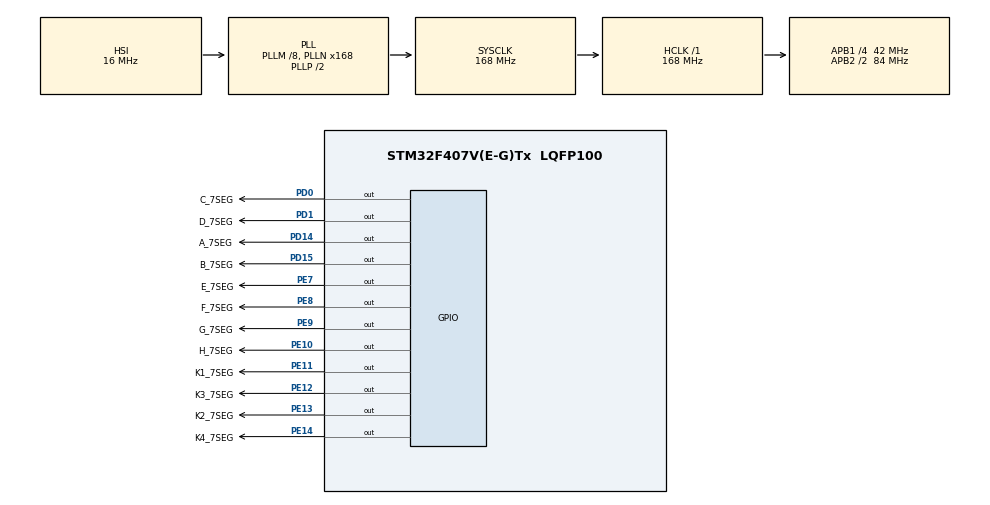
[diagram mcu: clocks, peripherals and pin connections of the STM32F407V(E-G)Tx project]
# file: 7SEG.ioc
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Mcu.Family=STM32F4
Mcu.Name=STM32F407V(E-G)Tx
Mcu.Package=LQFP100
NVIC.PriorityGroup=NVIC_PRIORITYGROUP_4
PA13.Mode=Serial_Wire
PA13.Signal=SYS_JTMS-SWDIO
PA14.Mode=Serial_Wire
PA14.Signal=SYS_JTCK-SWCLK
PD0.GPIO_Label=C_7SEG
PD0.Signal=GPIO_Output
PD1.GPIO_Label=D_7SEG
PD1.Signal=GPIO_Output
PD14.GPIO_Label=A_7SEG
PD14.Signal=GPIO_Output
PD15.GPIO_Label=B_7SEG
PD15.Signal=GPIO_Output
PE10.GPIO_Label=H_7SEG
PE10.Signal=GPIO_Output
PE11.GPIO_Label=K1_7SEG
PE11.Signal=GPIO_Output
PE12.GPIO_Label=K3_7SEG
PE12.Signal=GPIO_Output
PE13.GPIO_Label=K2_7SEG
PE13.Signal=GPIO_Output
PE14.GPIO_Label=K4_7SEG
PE14.Signal=GPIO_Output
PE7.GPIO_Label=E_7SEG
PE7.Signal=GPIO_Output
PE8.GPIO_Label=F_7SEG
PE8.Signal=GPIO_Output
PE9.GPIO_Label=G_7SEG
PE9.Signal=GPIO_Output
PH0-OSC_IN.Mode=HSE-External-Oscillator
PH0-OSC_IN.Signal=RCC_OSC_IN
PH1-OSC_OUT.Mode=HSE-External-Oscillator
PH1-OSC_OUT.Signal=RCC_OSC_OUT
ProjectManager.HeapSize=0x200
ProjectManager.StackSize=0x400
ProjectManager.TargetToolchain=MDK-ARM V5
RCC.48MHZClocksFreq_Value=84000000
RCC.AHBFreq_Value=168000000
RCC.APB1CLKDivider=RCC_HCLK_DIV4
RCC.APB1Freq_Value=42000000
RCC.APB1TimFreq_Value=84000000
RCC.APB2CLKDivider=RCC_HCLK_DIV2
RCC.APB2Freq_Value=84000000
RCC.APB2TimFreq_Value=168000000
RCC.CortexFreq_Value=168000000
RCC.HCLKFreq_Value=168000000
RCC.HSE_VALUE=8000000
RCC.HSI_VALUE=16000000
RCC.LSE_VALUE=32768
RCC.PLLM=8
RCC.PLLN=168
RCC.SYSCLKFreq_VALUE=168000000
RCC.SYSCLKSource=RCC_SYSCLKSOURCE_PLLCLK
RCC.VCOOutputFreq_Value=336000000
board=custom

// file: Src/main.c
/* USER CODE BEGIN Header */
/**
  ******************************************************************************
  * @file           : main.c
  * @brief          : Main program body
  ******************************************************************************
  * @attention
  *
  * <h2><center>&copy; Copyright (c) 2020 STMicroelectronics.
  * All rights reserved.</center></h2>
  *
  * This software component is licensed by ST under BSD 3-Clause license,
  * the "License"; You may not use this file except in compliance with the
  * License. You may obtain a copy of the License at:
  *                        opensource.org/licenses/BSD-3-Clause
  *
  ******************************************************************************
  */
/* USER CODE END Header */

#include "main.h"
#include "gpio.h"

/* USER CODE BEGIN PV */
const unsigned char digit[10]= {0xC0,0xF9,0xA4,0xB0,0x99,0x92,0x82,0xF8,0x80,0x90};  //COMMON ANODE
/* USER CODE END PV */

void SystemClock_Config(void);
/* USER CODE BEGIN PFP */
void display(char digit)
{
	HAL_GPIO_WritePin(A_7SEG_GPIO_Port,A_7SEG_Pin,0);
	HAL_GPIO_WritePin(B_7SEG_GPIO_Port,B_7SEG_Pin,0);
	HAL_GPIO_WritePin(C_7SEG_GPIO_Port,C_7SEG_Pin,0);
	HAL_GPIO_WritePin(D_7SEG_GPIO_Port,D_7SEG_Pin,0);
	HAL_GPIO_WritePin(E_7SEG_GPIO_Port,E_7SEG_Pin,0);
	HAL_GPIO_WritePin(F_7SEG_GPIO_Port,F_7SEG_Pin,0);
	HAL_GPIO_WritePin(G_7SEG_GPIO_Port,G_7SEG_Pin,0);
	HAL_GPIO_WritePin(H_7SEG_GPIO_Port,H_7SEG_Pin,0);
 switch (digit)
 {
	 case 0:
			HAL_GPIO_WritePin(A_7SEG_GPIO_Port,A_7SEG_Pin,1);
			HAL_GPIO_WritePin(B_7SEG_GPIO_Port,B_7SEG_Pin,1);
			HAL_GPIO_WritePin(C_7SEG_GPIO_Port,C_7SEG_Pin,1);
			HAL_GPIO_WritePin(D_7SEG_GPIO_Port,D_7SEG_Pin,1);
			HAL_GPIO_WritePin(E_7SEG_GPIO_Port,E_7SEG_Pin,1);
			HAL_GPIO_WritePin(F_7SEG_GPIO_Port,F_7SEG_Pin,1);
	    HAL_GPIO_WritePin(H_7SEG_GPIO_Port,H_7SEG_Pin,1);
		 break;
	 case 1:
			HAL_GPIO_WritePin(B_7SEG_GPIO_Port,B_7SEG_Pin,1);
	    HAL_GPIO_WritePin(C_7SEG_GPIO_Port,C_7SEG_Pin,1);
		 break;
	 case 2:
			HAL_GPIO_WritePin(A_7SEG_GPIO_Port,A_7SEG_Pin,1);
			HAL_GPIO_WritePin(B_7SEG_GPIO_Port,B_7SEG_Pin,1);
			HAL_GPIO_WritePin(D_7SEG_GPIO_Port,D_7SEG_Pin,1);
			HAL_GPIO_WritePin(E_7SEG_GPIO_Port,E_7SEG_Pin,1);
	    HAL_GPIO_WritePin(G_7SEG_GPIO_Port,G_7SEG_Pin,1);
		 break;
	 case 3:
		 	HAL_GPIO_WritePin(A_7SEG_GPIO_Port,A_7SEG_Pin,1);
			HAL_GPIO_WritePin(B_7SEG_GPIO_Port,B_7SEG_Pin,1);
			HAL_GPIO_WritePin(C_7SEG_GPIO_Port,C_7SEG_Pin,1);
			HAL_GPIO_WritePin(D_7SEG_GPIO_Port,D_7SEG_Pin,1);
	    HAL_GPIO_WritePin(G_7SEG_GPIO_Port,G_7SEG_Pin,1);
		 break;
	 case 4:
			HAL_GPIO_WritePin(B_7SEG_GPIO_Port,B_7SEG_Pin,1);
			HAL_GPIO_WritePin(C_7SEG_GPIO_Port,C_7SEG_Pin,1);
			HAL_GPIO_WritePin(F_7SEG_GPIO_Port,F_7SEG_Pin,1);
	    HAL_GPIO_WritePin(G_7SEG_GPIO_Port,G_7SEG_Pin,1);
		 break;
	 case 5:
		 	HAL_GPIO_WritePin(A_7SEG_GPIO_Port,A_7SEG_Pin,1);
			HAL_GPIO_WritePin(C_7SEG_GPIO_Port,C_7SEG_Pin,1);
			HAL_GPIO_WritePin(D_7SEG_GPIO_Port,D_7SEG_Pin,1);
			HAL_GPIO_WritePin(F_7SEG_GPIO_Port,F_7SEG_Pin,1);
	    HAL_GPIO_WritePin(G_7SEG_GPIO_Port,G_7SEG_Pin,1);
		 break;
	 case 6:
		 	HAL_GPIO_WritePin(A_7SEG_GPIO_Port,A_7SEG_Pin,1);
			HAL_GPIO_WritePin(C_7SEG_GPIO_Port,C_7SEG_Pin,1);
			HAL_GPIO_WritePin(D_7SEG_GPIO_Port,D_7SEG_Pin,1);
			HAL_GPIO_WritePin(E_7SEG_GPIO_Port,E_7SEG_Pin,1);
			HAL_GPIO_WritePin(F_7SEG_GPIO_Port,F_7SEG_Pin,1);
	    HAL_GPIO_WritePin(G_7SEG_GPIO_Port,G_7SEG_Pin,1);
		 break;
	 case 7:
		 	HAL_GPIO_WritePin(A_7SEG_GPIO_Port,A_7SEG_Pin,1);
			HAL_GPIO_WritePin(B_7SEG_GPIO_Port,B_7SEG_Pin,1);
			HAL_GPIO_WritePin(C_7SEG_GPIO_Port,C_7SEG_Pin,1);
		 break;
	 case 8:
		 	HAL_GPIO_WritePin(A_7SEG_GPIO_Port,A_7SEG_Pin,1);
			HAL_GPIO_WritePin(B_7SEG_GPIO_Port,B_7SEG_Pin,1);
			HAL_GPIO_WritePin(C_7SEG_GPIO_Port,C_7SEG_Pin,1);
			HAL_GPIO_WritePin(D_7SEG_GPIO_Port,D_7SEG_Pin,1);
			HAL_GPIO_WritePin(E_7SEG_GPIO_Port,E_7SEG_Pin,1);
			HAL_GPIO_WritePin(F_7SEG_GPIO_Port,F_7SEG_Pin,1);
	    HAL_GPIO_WritePin(G_7SEG_GPIO_Port,G_7SEG_Pin,1);
		 break;
	 case 9:
		 	HAL_GPIO_WritePin(A_7SEG_GPIO_Port,A_7SEG_Pin,1);
			HAL_GPIO_WritePin(B_7SEG_GPIO_Port,B_7SEG_Pin,1);
			HAL_GPIO_WritePin(C_7SEG_GPIO_Port,C_7SEG_Pin,1);
			HAL_GPIO_WritePin(D_7SEG_GPIO_Port,D_7SEG_Pin,1);
			HAL_GPIO_WritePin(F_7SEG_GPIO_Port,F_7SEG_Pin,1);
	    HAL_GPIO_WritePin(G_7SEG_GPIO_Port,G_7SEG_Pin,1);
		 break;
 }

}
/* USER CODE END PFP */

int main(void)
{

  /* MCU Configuration--------------------------------------------------------*/

  /* Reset of all peripherals, Initializes the Flash interface and the Systick. */
  HAL_Init();

  /* Configure the system clock */
  SystemClock_Config();

  /* Initialize all configured peripherals */
  MX_GPIO_Init();
  /* USER CODE BEGIN 2 */
 //HAL_GPIO_WritePin(A_7SEG_GPIO_Port,A_7SEG_Pin,1);
 HAL_GPIO_WritePin(K1_7SEG_GPIO_Port,K1_7SEG_Pin,0);
 HAL_GPIO_WritePin(K1_7SEG_GPIO_Port,K2_7SEG_Pin | K3_7SEG_Pin | K4_7SEG_Pin,1);
 display(1);
  /* USER CODE END 2 */

  /* Infinite loop */
  while (1)
  {

    /* USER CODE BEGIN 3 */
		HAL_GPIO_WritePin(K1_7SEG_GPIO_Port,K1_7SEG_Pin,0);
    HAL_GPIO_WritePin(K1_7SEG_GPIO_Port,K2_7SEG_Pin | K3_7SEG_Pin | K4_7SEG_Pin,1);
    display(0);
		HAL_Delay(2);

		HAL_GPIO_WritePin(K2_7SEG_GPIO_Port,K2_7SEG_Pin,0);
		HAL_GPIO_WritePin(K1_7SEG_GPIO_Port,K1_7SEG_Pin | K3_7SEG_Pin | K4_7SEG_Pin,1);
		display(1);
		HAL_Delay(2);

		HAL_GPIO_WritePin(K3_7SEG_GPIO_Port,K3_7SEG_Pin,0);
		HAL_GPIO_WritePin(K1_7SEG_GPIO_Port,K1_7SEG_Pin | K2_7SEG_Pin | K4_7SEG_Pin,1);
		display(2);
		HAL_Delay(2);

		HAL_GPIO_WritePin(K4_7SEG_GPIO_Port,K4_7SEG_Pin,0);
		HAL_GPIO_WritePin(K1_7SEG_GPIO_Port,K1_7SEG_Pin | K2_7SEG_Pin | K3_7SEG_Pin,1);
		display(3);
		HAL_Delay(2);

  }
  /* USER CODE END 3 */
}

void SystemClock_Config(void)
{
  RCC_OscInitTypeDef RCC_OscInitStruct = {0};
  RCC_ClkInitTypeDef RCC_ClkInitStruct = {0};

  /** Configure the main internal regulator output voltage
  */
  __HAL_RCC_PWR_CLK_ENABLE();
  __HAL_PWR_VOLTAGESCALING_CONFIG(PWR_REGULATOR_VOLTAGE_SCALE1);
  /** Initializes the CPU, AHB and APB busses clocks
  */
  RCC_OscInitStruct.OscillatorType = RCC_OSCILLATORTYPE_HSI;
  RCC_OscInitStruct.HSIState = RCC_HSI_ON;
  RCC_OscInitStruct.HSICalibrationValue = RCC_HSICALIBRATION_DEFAULT;
  RCC_OscInitStruct.PLL.PLLState = RCC_PLL_ON;
  RCC_OscInitStruct.PLL.PLLSource = RCC_PLLSOURCE_HSI;
  RCC_OscInitStruct.PLL.PLLM = 8;
  RCC_OscInitStruct.PLL.PLLN = 168;
  RCC_OscInitStruct.PLL.PLLP = RCC_PLLP_DIV2;
  RCC_OscInitStruct.PLL.PLLQ = 4;
  if (HAL_RCC_OscConfig(&RCC_OscInitStruct) != HAL_OK)
  {
    Error_Handler();
  }
  /** Initializes the CPU, AHB and APB busses clocks
  */
  RCC_ClkInitStruct.ClockType = RCC_CLOCKTYPE_HCLK|RCC_CLOCKTYPE_SYSCLK
                              |RCC_CLOCKTYPE_PCLK1|RCC_CLOCKTYPE_PCLK2;
  RCC_ClkInitStruct.SYSCLKSource = RCC_SYSCLKSOURCE_PLLCLK;
  RCC_ClkInitStruct.AHBCLKDivider = RCC_SYSCLK_DIV1;
  RCC_ClkInitStruct.APB1CLKDivider = RCC_HCLK_DIV4;
  RCC_ClkInitStruct.APB2CLKDivider = RCC_HCLK_DIV2;

  if (HAL_RCC_ClockConfig(&RCC_ClkInitStruct, FLASH_LATENCY_5) != HAL_OK)
  {
    Error_Handler();
  }
}

void Error_Handler(void)
{
}

/************************ (C) COPYRIGHT STMicroelectronics *****END OF FILE****/
